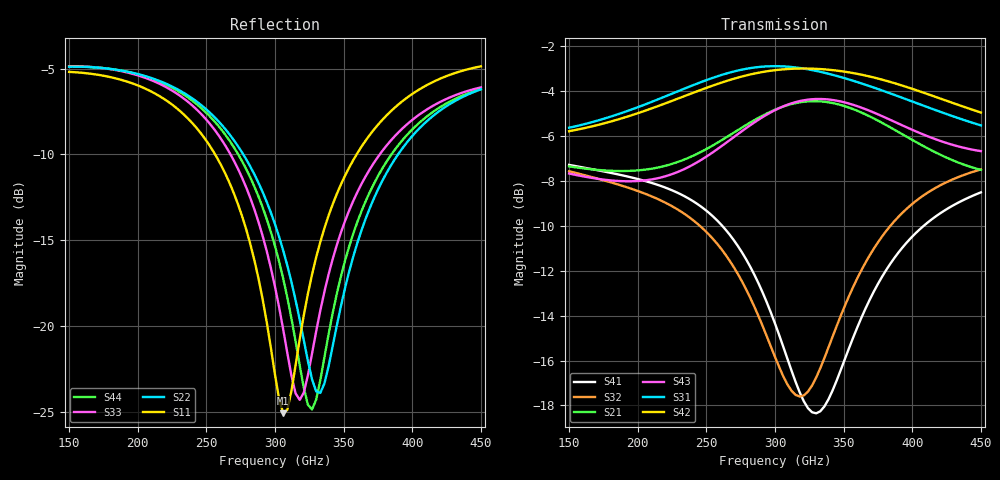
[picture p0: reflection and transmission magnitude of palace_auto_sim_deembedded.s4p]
! Created with skrf 2.0.1 (http://scikit-rf.org).
# GHz S DB R 50.0
!freq dBS11 angS11 dBS12 angS12 dBS13 angS13
! dBS14 angS14
! dBS21 angS21 dBS22 angS22 dBS23 angS23
! dBS24 angS24
! dBS31 angS31 dBS32 angS32 dBS33 angS33
! dBS34 angS34
! dBS41 angS41 dBS42 angS42 dBS43 angS43
! dBS44 angS44
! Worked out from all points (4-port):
!   101 points, 150 GHz to 450 GHz, reference 50 ohm
!   strongest paths, dB at 150 GHz, 225 GHz, 300 GHz, 375 GHz, 450 GHz:
!     S42: -5.8, -4.4, -3.1, -3.4, -4.9
!     S31: -5.6, -4.1, -2.9, -3.9, -5.5
!     S43: -7.7, -7.7, -4.8, -5.0, -6.7
!     S21: -7.3, -7.2, -4.8, -5.3, -7.5
!     S32: -7.6, -9.1, -15.8, -10.7, -7.5
!     S41: -7.3, -8.4, -14.4, -12.6, -8.5
!   lowest |S11| = -25.1 dB at 306 GHz (marker M1), VSWR 1.12, Z = 55.3 + j2.49 ohm
!   |S11| at or under -10 dB: 256.3 GHz to 359.5 GHz (103.2 GHz wide, 33.5 % of centre)
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150  -5.19 169.3  -7.35 -46.7  -5.63 -74.1  -7.28 -56.7
     -7.35 -46.7  -4.89 156.8  -7.57 -62.0  -5.78 -79.6
     -5.63 -74.1  -7.57 -62.0  -4.86 155.7  -7.67 -51.5
     -7.28 -56.7  -5.78 -79.6  -7.67 -51.5  -4.88 156.4
255  -9.82 126.9  -6.40 -65.5  -3.40 -133.9  -9.59 -101.4
     -6.40 -65.5  -7.76 110.3  -10.59 -106.6  -3.74 -140.9
     -3.40 -133.9  -10.59 -106.6  -8.46 103.6  -6.71 -69.1
     -9.59 -101.4  -3.74 -140.9  -6.71 -69.1  -8.00 108.1
306  -25.10 23.8  -4.68 -86.4  -2.89 -171.9  -15.38 -116.6
     -4.68 -86.4  -15.62 67.3  -16.70 -108.8  -3.02 -178.5
     -2.89 -171.9  -16.70 -108.8  -20.22 40.0  -4.67 -91.1
     -15.38 -116.6  -3.02 -178.5  -4.67 -91.1  -17.26 60.3
318  -20.78 -42.1  -4.49 -93.2  -2.96 179.0  -17.42 -108.2
     -4.49 -93.2  -19.64 45.3  -17.60 -94.2  -2.99 172.3
     -2.96 179.0  -17.60 -94.2  -24.32 -20.0  -4.44 -98.2
     -17.42 -108.2  -2.99 172.3  -4.44 -98.2  -22.30 29.5
333  -15.11 -68.9  -4.45 -101.8  -3.13 168.0  -18.26 -86.4
     -4.45 -101.8  -23.92 -22.0  -16.34 -76.5  -3.01 160.9
     -3.13 168.0  -16.34 -76.5  -19.12 -85.4  -4.35 -107.3
     -18.26 -86.4  -3.01 160.9  -4.35 -107.3  -23.18 -56.4
375  -8.28 -98.6  -5.31 -123.7  -3.90 139.2  -12.59 -68.5
     -5.31 -123.7  -12.06 -115.9  -10.73 -77.8  -3.43 129.6
     -3.90 139.2  -10.73 -77.8  -10.15 -130.9  -5.03 -130.0
     -12.59 -68.5  -3.43 129.6  -5.03 -130.0  -11.27 -123.7
450  -4.87 -127.6  -7.50 -144.2  -5.52 95.8  -8.51 -99.3
     -7.50 -144.2  -6.21 -160.4  -7.48 -115.3  -4.95 80.4
     -5.52 95.8  -7.48 -115.3  -6.10 -168.1  -6.67 -154.0
     -8.51 -99.3  -4.95 80.4  -6.67 -154.0  -6.20 -165.0
